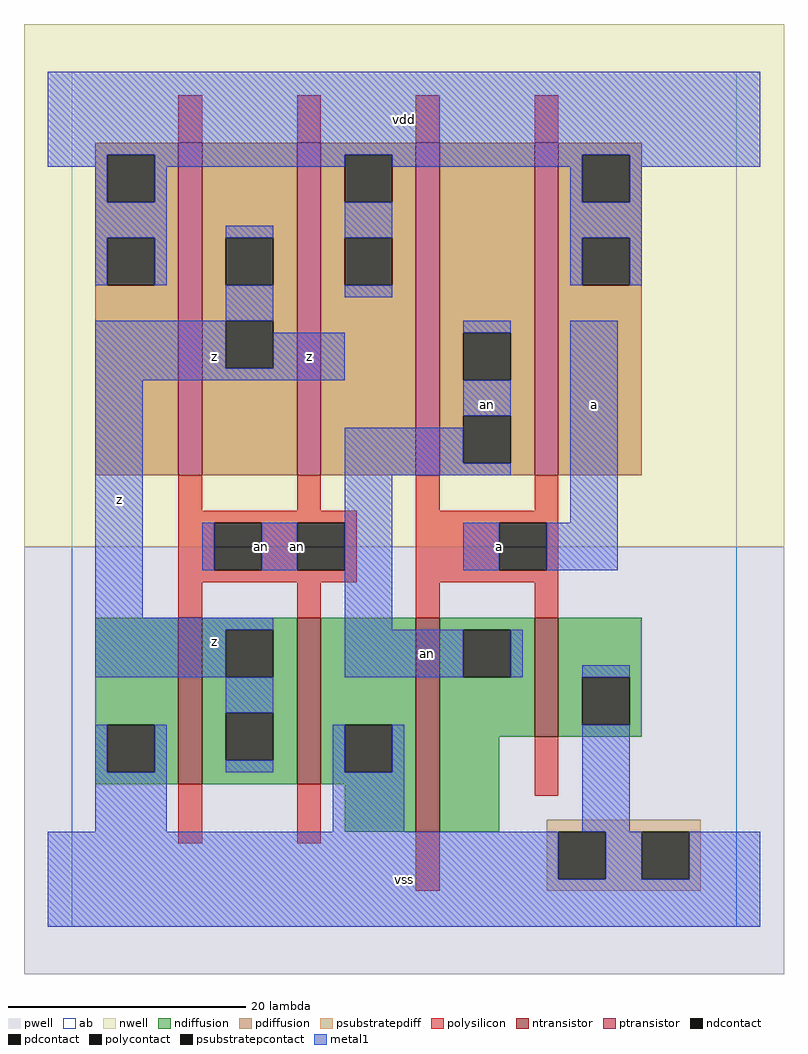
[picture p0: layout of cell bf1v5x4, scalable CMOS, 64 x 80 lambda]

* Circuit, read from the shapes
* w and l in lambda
.subckt bf1v5x4 a an vdd vss z
M1 z an vss vss nfet w=14 l=2 m=2
M2 an a vss vss nfet w=18 l=2
M3 vss a an vss nfet w=10 l=2
M4 z an vdd n1 pfet w=28 l=2 m=2
M5 an a vdd n1 pfet w=28 l=2 m=2
.ends

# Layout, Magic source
magic
tech scmos
<< ab >>
rect 0 0 56 72
<< pwell >>
rect -4 -4 60 32
<< nwell >>
rect -4 32 60 76
<< polysilicon >>
rect 9 66 11 70
rect 19 66 21 70
rect 29 66 31 70
rect 39 66 41 70
rect 9 35 11 38
rect 19 35 21 38
rect 29 35 31 38
rect 39 35 41 38
rect 9 34 24 35
rect 9 30 12 34
rect 16 30 19 34
rect 23 30 24 34
rect 9 29 24 30
rect 29 34 41 35
rect 29 30 36 34
rect 40 30 41 34
rect 29 29 41 30
rect 9 26 11 29
rect 19 26 21 29
rect 29 26 31 29
rect 39 26 41 29
rect 9 7 11 12
rect 19 7 21 12
rect 39 11 41 16
rect 29 3 31 8
<< ndiffusion >>
rect 2 17 9 26
rect 2 13 3 17
rect 7 13 9 17
rect 2 12 9 13
rect 11 25 19 26
rect 11 21 13 25
rect 17 21 19 25
rect 11 18 19 21
rect 11 14 13 18
rect 17 14 19 18
rect 11 12 19 14
rect 21 17 29 26
rect 21 13 23 17
rect 27 13 29 17
rect 21 12 29 13
rect 23 8 29 12
rect 31 25 39 26
rect 31 21 33 25
rect 37 21 39 25
rect 31 16 39 21
rect 41 21 48 26
rect 41 17 43 21
rect 47 17 48 21
rect 41 16 48 17
rect 31 8 36 16
<< pdiffusion >>
rect 2 65 9 66
rect 2 61 3 65
rect 7 61 9 65
rect 2 58 9 61
rect 2 54 3 58
rect 7 54 9 58
rect 2 38 9 54
rect 11 58 19 66
rect 11 54 13 58
rect 17 54 19 58
rect 11 51 19 54
rect 11 47 13 51
rect 17 47 19 51
rect 11 38 19 47
rect 21 65 29 66
rect 21 61 23 65
rect 27 61 29 65
rect 21 58 29 61
rect 21 54 23 58
rect 27 54 29 58
rect 21 38 29 54
rect 31 50 39 66
rect 31 46 33 50
rect 37 46 39 50
rect 31 43 39 46
rect 31 39 33 43
rect 37 39 39 43
rect 31 38 39 39
rect 41 65 48 66
rect 41 61 43 65
rect 47 61 48 65
rect 41 58 48 61
rect 41 54 43 58
rect 47 54 48 58
rect 41 38 48 54
<< metal1 >>
rect -2 65 58 72
rect -2 64 3 65
rect 2 61 3 64
rect 7 64 23 65
rect 7 61 8 64
rect 2 58 8 61
rect 27 64 43 65
rect 2 54 3 58
rect 7 54 8 58
rect 13 58 17 59
rect 13 51 17 54
rect 23 58 27 61
rect 42 61 43 64
rect 47 64 58 65
rect 47 61 48 64
rect 42 58 48 61
rect 42 54 43 58
rect 47 54 48 58
rect 23 53 27 54
rect 2 47 13 51
rect 33 50 37 51
rect 17 47 23 50
rect 2 46 23 47
rect 2 26 6 46
rect 33 43 37 46
rect 23 39 33 42
rect 23 38 37 39
rect 11 30 12 34
rect 16 30 19 34
rect 2 25 17 26
rect 2 21 13 25
rect 23 25 27 38
rect 42 34 46 51
rect 33 30 36 34
rect 40 30 46 34
rect 23 21 33 25
rect 37 21 38 25
rect 43 21 47 22
rect 13 18 17 21
rect 2 13 3 17
rect 7 13 8 17
rect 13 13 17 14
rect 22 13 23 17
rect 27 13 28 17
rect 2 8 8 13
rect 22 8 28 13
rect 43 8 47 17
rect -2 4 41 8
rect 45 4 48 8
rect 52 4 58 8
rect -2 0 58 4
<< ntransistor >>
rect 9 12 11 26
rect 19 12 21 26
rect 29 8 31 26
rect 39 16 41 26
<< ptransistor >>
rect 9 38 11 66
rect 19 38 21 66
rect 29 38 31 66
rect 39 38 41 66
<< polycontact >>
rect 12 30 16 34
rect 19 30 23 34
rect 36 30 40 34
<< ndcontact >>
rect 3 13 7 17
rect 13 21 17 25
rect 13 14 17 18
rect 23 13 27 17
rect 33 21 37 25
rect 43 17 47 21
<< pdcontact >>
rect 3 61 7 65
rect 3 54 7 58
rect 13 54 17 58
rect 13 47 17 51
rect 23 61 27 65
rect 23 54 27 58
rect 33 46 37 50
rect 33 39 37 43
rect 43 61 47 65
rect 43 54 47 58
<< psubstratepcontact >>
rect 41 4 45 8
rect 48 4 52 8
<< psubstratepdiff >>
rect 40 8 53 9
rect 40 4 41 8
rect 45 4 48 8
rect 52 4 53 8
rect 40 3 53 4
<< labels >>
rlabel polysilicon 16 32 16 32 6 an
rlabel metal1 4 36 4 36 6 z
rlabel metal1 12 24 12 24 6 z
rlabel metal1 19 32 19 32 6 an
rlabel metal1 12 48 12 48 6 z
rlabel metal1 20 48 20 48 6 z
rlabel metal1 28 4 28 4 6 vss
rlabel metal1 30 23 30 23 6 an
rlabel metal1 36 32 36 32 6 a
rlabel metal1 35 44 35 44 6 an
rlabel metal1 28 68 28 68 6 vdd
rlabel metal1 44 44 44 44 6 a
<< end >>
